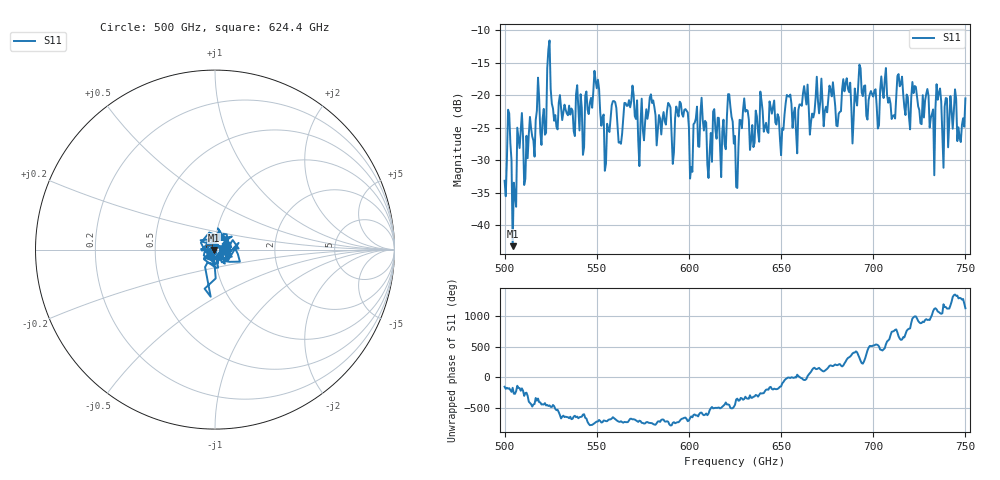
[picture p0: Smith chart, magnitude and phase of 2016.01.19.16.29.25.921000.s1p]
!Created with skrf (http://scikit-rf.org).
# GHz S RI R 50.0
!freq ReS11 ImS11
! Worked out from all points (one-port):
!   401 points, 500 GHz to 750 GHz, reference 50 ohm
!   lowest |S11| = -43.2 dB at 504.4 GHz (marker M1), VSWR 1.01, Z = 49.3 - j0.13 ohm
!   |S11| at or under -10 dB: start of sweep to end of sweep
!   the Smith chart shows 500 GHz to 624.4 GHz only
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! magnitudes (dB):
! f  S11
! 500 GHz  -33.1
! 502.5 GHz  -22.8
! 504.4 GHz  -43.2
! 508.1 GHz  -28.1
! 521.2 GHz  -22.1
! 524.4 GHz  -11.6
! 527.5 GHz  -23.0
! 531.2 GHz  -23.8
! 541.9 GHz  -21.9
! 550 GHz  -18.9
! 553.8 GHz  -23.0
! 559.4 GHz  -20.9
! 562.5 GHz  -27.2
! 568.8 GHz  -20.9
! 573.8 GHz  -24.3
! 593.8 GHz  -22.5
! 601.2 GHz  -31.0
! 607.5 GHz  -23.8
! 611.2 GHz  -28.8
! 621.9 GHz  -19.8
! 625 GHz  -26.3
! 630.6 GHz  -22.5
! 634.4 GHz  -24.6
! 656.2 GHz  -25.0
! 687.5 GHz  -18.1
! 714.4 GHz  -18.6
! 718.8 GHz  -20.3
! 750 GHz  -20.5
